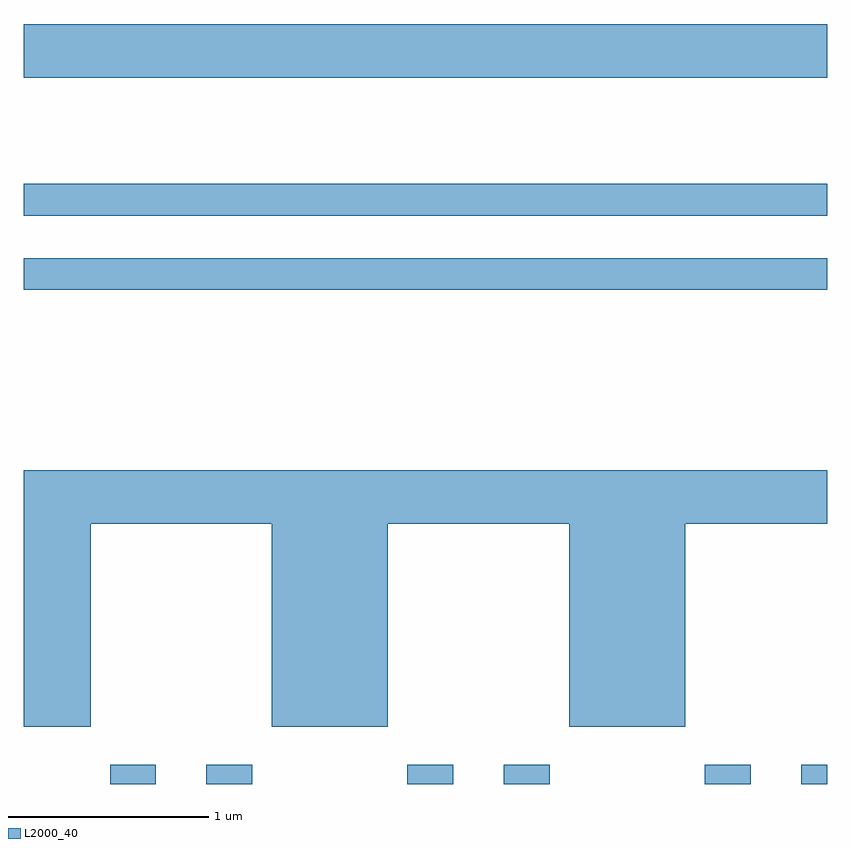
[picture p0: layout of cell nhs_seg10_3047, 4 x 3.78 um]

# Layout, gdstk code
import gdstk
lib = gdstk.Library(unit=1e-6, precision=1e-09)
def R(c, l, rs):  # rectangles x0, y0, x1, y1
    for r in rs: c.add(gdstk.rectangle(r[:2], r[2:], *l))
def P(c, l, *ps):  # polygons
    for p in ps: c.add(gdstk.Polygon(p, *l))
L2000_40 = (2000, 40)

nhs_seg10_3047 = lib.new_cell('nhs_seg10_3047')
R(nhs_seg10_3047, L2000_40, [(274.041,2212.522,274.269,2212.619), (274.521,2212.522,274.749,2212.619), (275.521,2212.522,275.749,2212.619), (276.001,2212.522,276.229,2212.619), (277.001,2212.522,277.229,2212.619), (277.481,2212.522,277.611,2212.619), (273.611,2214.981,277.611,2215.139), (273.611,2215.351,277.611,2215.509), (273.611,2216.036,277.611,2216.304)])
P(nhs_seg10_3047, L2000_40, [(273.944,2213.816),(274.846,2213.816),(274.846,2212.806),(275.424,2212.806),(275.424,2213.816),(276.326,2213.816),(276.326,2212.806),(276.904,2212.806),(276.904,2213.816),(277.611,2213.816),(277.611,2214.084),(273.611,2214.084),(273.611,2212.806),(273.944,2212.806)])

lib.write_gds('nhs_seg10_3047.gds')
